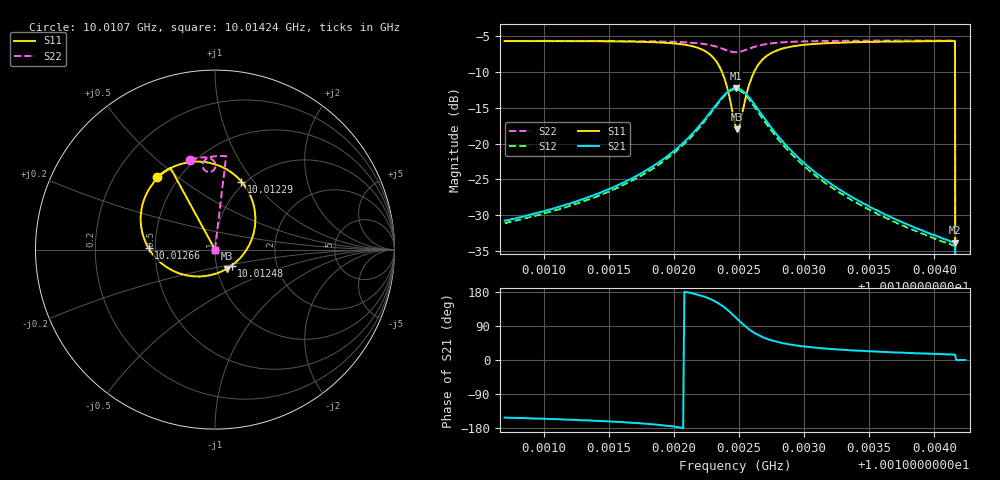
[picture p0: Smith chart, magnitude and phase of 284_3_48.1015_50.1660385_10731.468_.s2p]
#  HZ  S  RI  R  50.00
! Rohde & Schwarz Vector Network Analyzer
! Rohde-Schwarz,ZNB20-2Port,1311601062101988,3.16
! Created: UTC 12/23/2023, 4:03:06 AM
! freq[Hz]  re:S11  im:S11  re:S21  im:S21  re:S12  im:S12  re:S22  im:S22
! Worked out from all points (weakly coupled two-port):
!   401 points, 10.0107 GHz to 10.01424 GHz, reference 50 ohm
!   highest |S21| = -12.28 dB at 10.01248 GHz (marker M1); lowest = -33.8 dB at 10.01416 GHz (marker M2)
!   lowest |S11| = -18.0 dB at 10.01249 GHz (marker M3), VSWR 1.29, Z = 55.7 - j12.1 ohm
!   |S11| at or under -10 dB: 10.01237 GHz to 10.01262 GHz (247.5 kHz wide, 0.00247 % of centre); 10.01416 GHz to end of sweep
!   |S22| runs from - to -5.6 dB; largest |S21 - S12| = 0.012
!   S11 on the Smith chart (normalised r, x): 10.0107 GHz: 0.38, +0.42; 10.01229 GHz: 0.96, +0.87; 10.01248 GHz: 1.18, -0.22; 10.01266 GHz: 0.46, +0.01; 10.01424 GHz: 1.00, +0.00
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1.0010697e10  -0.3236 0.405  -0.0256 -0.0136  -0.0239 -0.0145  -0.1384 0.5009
1.001129e10  -0.2659 0.4445  -0.0381 -0.0145  -0.0357 -0.0161  -0.0974 0.5104
1.0011884e10  -0.145 0.4865  -0.0732 -0.0114  -0.0697 -0.0147  -0.0486 0.5133
1.0012149e10  0.000651 0.4751  -0.119 0.0102  -0.1157 0.00316  -0.0178 0.504
1.0012291e10  0.1475 0.3784  -0.1591 0.0616  -0.1586 0.0514  0.000196 0.4829
1.0012379e10  0.2239 0.1954  -0.1667 0.1358  -0.1699 0.1255  0.000827 0.4559
1.0012424e10  0.2057 0.0603  -0.1448 0.184  -0.1503 0.1745  -0.00927 0.4411
1.0012468e10  0.1181 -0.0687  -0.0986 0.2222  -0.1049 0.2145  -0.0277 0.4327
1.0012477e10  0.0925 -0.0894  -0.0872 0.227  -0.093 0.2198  -0.0318 0.4324
1.0012486e10  0.0659 -0.1066  -0.076 0.2306  -0.0821 0.2234  -0.0356 0.4325
1.0012512e10  -0.0249 -0.1422  -0.0395 0.2342  -0.0439 0.2276  -0.0477 0.4358
1.0012557e10  -0.1711 -0.1405  0.015 0.2193  0.00843 0.2129  -0.0618 0.4479
1.0012601e10  -0.2818 -0.0892  0.0511 0.1897  0.0441 0.1839  -0.0678 0.4626
1.0012663e10  -0.3701 0.00789  0.0738 0.1465  0.0664 0.1423  -0.0668 0.4804
1.0012831e10  -0.4128 0.2012  0.074 0.0732  0.0675 0.0727  -0.0478 0.5057
1.0013061e10  -0.378 0.3182  0.0548 0.0359  0.0503 0.0365  -0.0227 0.5167
1.0013336e10  -0.3359 0.3806  0.0396 0.0193  0.0366 0.0203  0.00164 0.5208
1.0013655e10  -0.2972 0.4197  0.0291 0.0109  0.0271 0.012  0.0263 0.5217
1.0014142e10  -0.2502 0.4545  0.0199 0.00522  0.0186 0.00588  0.0608 0.5201
1.001416e10  -0.2485 0.4555  0.0197 0.00498  0.0183 0.00582  0.062 0.5199
1.0014186e10  0 0  0 0  0 0  0 0
1.0014239e10  0 0  0 0  0 0  0 0
